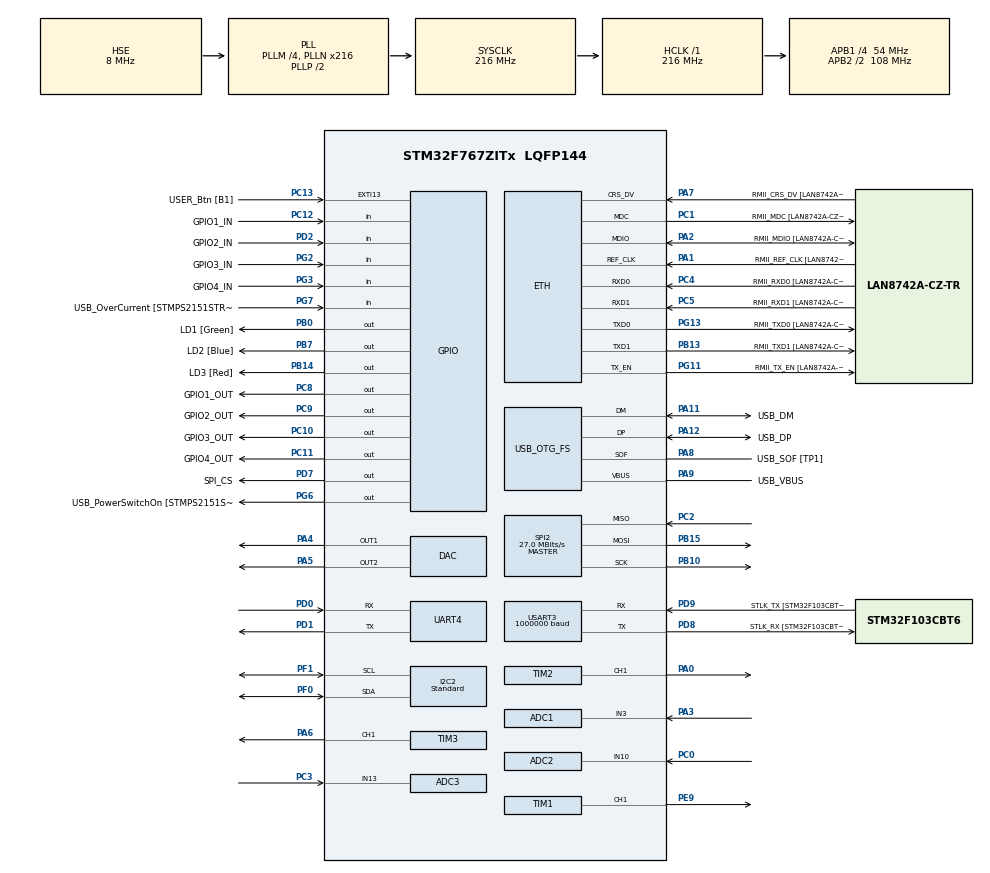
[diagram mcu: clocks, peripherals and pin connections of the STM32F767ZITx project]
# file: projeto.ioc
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ADC1.Channel-0\#ChannelRegularConversion=ADC_CHANNEL_3
ADC1.NbrOfConversionFlag=1
ADC1.Rank-0\#ChannelRegularConversion=1
ADC1.SamplingTime-0\#ChannelRegularConversion=ADC_SAMPLETIME_480CYCLES
ADC1.master=1
ADC2.Channel-0\#ChannelRegularConversion=ADC_CHANNEL_10
ADC2.NbrOfConversionFlag=1
ADC2.Rank-0\#ChannelRegularConversion=1
ADC2.SamplingTime-0\#ChannelRegularConversion=ADC_SAMPLETIME_480CYCLES
ADC3.Channel-0\#ChannelRegularConversion=ADC_CHANNEL_13
ADC3.NbrOfConversionFlag=1
ADC3.Rank-0\#ChannelRegularConversion=1
ADC3.SamplingTime-0\#ChannelRegularConversion=ADC_SAMPLETIME_480CYCLES
CORTEX_M7.default_mode_Activation=1
CRC.CRCLength=CRC_POLYLENGTH_16B
CRC.DefaultInitValueUse=DEFAULT_INIT_VALUE_DISABLE
CRC.DefaultPolynomialUse=DEFAULT_POLYNOMIAL_DISABLE
CRC.GeneratingPolynomial=X12+X5+X0
CRC.InitValue=0xffff
ETH.MediaInterface=HAL_ETH_RMII_MODE
ETH.PHY_Name=LAN8742A_PHY_ADDRESS
ETH.PHY_Value=0
ETH.PhyAddress=0
FREERTOS.Mutexes01=uartDebugMutex,Dynamic,NULL,Available
FREERTOS.Queues01=comandoQueue,1,commFrame_t,0,Static,comandoQueueBuffer,comandoQueueControlBlock;resultadoQueue,1,execResult_t,0,Static,resultadoQueueBuffer,resultadoQueueControlBlock
FREERTOS.Tasks01=defaultTask,24,256,StartDefaultTask,Default,NULL,Dynamic,NULL,NULL;Comm,24,256,CommTask,Default,NULL,Dynamic,NULL,NULL;TestExec,32,256,TestExecTask,Default,NULL,Dynamic,NULL,NULL
FREERTOS.configENABLE_FPU=1
FREERTOS.configUSE_NEWLIB_REENTRANT=1
I2C2.I2C_Speed_Mode=I2C_Standard
I2C2.Timing=0x20404768
Mcu.Family=STM32F7
Mcu.Name=STM32F767ZITx
Mcu.Package=LQFP144
NVIC.I2C2_ER_IRQn=true\:5\:0\:false\:false\:true\:true\:true\:true\:true
NVIC.I2C2_EV_IRQn=true\:5\:0\:false\:false\:true\:true\:true\:true\:true
NVIC.OTG_FS_IRQn=true\:5\:0\:false\:false\:true\:true\:false\:true\:true
NVIC.PriorityGroup=NVIC_PRIORITYGROUP_4
NVIC.SPI2_IRQn=true\:5\:0\:false\:false\:true\:true\:true\:true\:true
NVIC.TIM5_IRQn=true\:5\:0\:false\:false\:true\:true\:true\:true\:true
NVIC.TIM6_DAC_IRQn=true\:15\:0\:false\:false\:true\:false\:false\:true\:true
NVIC.TimeBase=TIM6_DAC_IRQn
NVIC.TimeBaseIP=TIM6
NVIC.UART4_IRQn=true\:5\:0\:false\:false\:true\:true\:true\:true\:true
PA0/WKUP.Signal=S_TIM2_CH1_ETR
PA1.GPIO_Label=RMII_REF_CLK [LAN8742A-CZ-TR_REFCLK0]
PA1.Mode=RMII
PA1.Signal=ETH_REF_CLK
PA10.GPIO_Label=USB_ID
PA10.Signal=USB_OTG_FS_ID
PA11.GPIO_Label=USB_DM
PA11.Mode=Device_Only
PA11.Signal=USB_OTG_FS_DM
PA12.GPIO_Label=USB_DP
PA12.Mode=Device_Only
PA12.Signal=USB_OTG_FS_DP
PA13.GPIO_Label=TMS
PA13.Mode=Serial_Wire
PA13.Signal=SYS_JTMS-SWDIO
PA14.GPIO_Label=TCK
PA14.Mode=Serial_Wire
PA14.Signal=SYS_JTCK-SWCLK
PA2.GPIO_Label=RMII_MDIO [LAN8742A-CZ-TR_MDIO]
PA2.Mode=RMII
PA2.Signal=ETH_MDIO
PA3.Signal=ADCx_IN3
PA4.Signal=COMP_DAC1_group
PA5.Signal=COMP_DAC2_group
PA6.Signal=S_TIM3_CH1
PA7.GPIO_Label=RMII_CRS_DV [LAN8742A-CZ-TR_CRS_DV]
PA7.Mode=RMII
PA7.Signal=ETH_CRS_DV
PA8.GPIO_Label=USB_SOF [TP1]
PA8.Mode=Activate_SOF_FS
PA8.Signal=USB_OTG_FS_SOF
PA9.GPIO_Label=USB_VBUS
PA9.Mode=Activate_VBUS
PA9.Signal=USB_OTG_FS_VBUS
PB0.GPIO_Label=LD1 [Green]
PB0.Signal=GPIO_Output
PB10.Mode=Full_Duplex_Master
PB10.Signal=SPI2_SCK
PB13.GPIO_Label=RMII_TXD1 [LAN8742A-CZ-TR_TXD1]
PB13.Mode=RMII
PB13.Signal=ETH_TXD1
PB14.GPIO_Label=LD3 [Red]
PB14.Signal=GPIO_Output
PB15.Mode=Full_Duplex_Master
PB15.Signal=SPI2_MOSI
PB3.GPIO_Label=SWO
PB3.Signal=SYS_JTDO-SWO
PB7.GPIO_Label=LD2 [Blue]
PB7.Signal=GPIO_Output
PC0.Signal=ADCx_IN10
PC1.GPIO_Label=RMII_MDC [LAN8742A-CZ-TR_MDC]
PC1.Mode=RMII
PC1.Signal=ETH_MDC
PC10.GPIO_Label=GPIO3_OUT
PC10.Signal=GPIO_Output
PC11.GPIO_Label=GPIO4_OUT
PC11.Signal=GPIO_Output
PC12.GPIO_Label=GPIO1_IN
PC12.GPIO_PuPd=GPIO_NOPULL
PC12.Signal=GPIO_Input
PC13.GPIO_Label=USER_Btn [B1]
PC13.Signal=GPXTI13
PC14/OSC32_IN.Mode=LSE-External-Oscillator
PC14/OSC32_IN.Signal=RCC_OSC32_IN
PC15/OSC32_OUT.Mode=LSE-External-Oscillator
PC15/OSC32_OUT.Signal=RCC_OSC32_OUT
PC2.Mode=Full_Duplex_Master
PC2.Signal=SPI2_MISO
PC3.Signal=ADCx_IN13
PC4.GPIO_Label=RMII_RXD0 [LAN8742A-CZ-TR_RXD0]
PC4.Mode=RMII
PC4.Signal=ETH_RXD0
PC5.GPIO_Label=RMII_RXD1 [LAN8742A-CZ-TR_RXD1]
PC5.Mode=RMII
PC5.Signal=ETH_RXD1
PC8.GPIO_Label=GPIO1_OUT
PC8.Signal=GPIO_Output
PC9.GPIO_Label=GPIO2_OUT
PC9.Signal=GPIO_Output
PD0.Mode=Asynchronous
PD0.Signal=UART4_RX
PD1.Mode=Asynchronous
PD1.Signal=UART4_TX
PD2.GPIO_Label=GPIO2_IN
PD2.Signal=GPIO_Input
PD7.GPIO_Label=SPI_CS
PD7.PinState=GPIO_PIN_SET
PD7.Signal=GPIO_Output
PD8.GPIO_Label=STLK_RX [STM32F103CBT6_PA3]
PD8.Mode=Asynchronous
PD8.Signal=USART3_TX
PD9.GPIO_Label=STLK_TX [STM32F103CBT6_PA2]
PD9.Mode=Asynchronous
PD9.Signal=USART3_RX
PE9.Signal=S_TIM1_CH1
PF0.Mode=I2C
PF0.Signal=I2C2_SDA
PF1.Mode=I2C
PF1.Signal=I2C2_SCL
PG11.GPIO_Label=RMII_TX_EN [LAN8742A-CZ-TR_TXEN]
PG11.Mode=RMII
PG11.Signal=ETH_TX_EN
PG13.GPIO_Label=RMII_TXD0 [LAN8742A-CZ-TR_TXD0]
PG13.Mode=RMII
PG13.Signal=ETH_TXD0
PG2.GPIO_Label=GPIO3_IN
PG2.Signal=GPIO_Input
PG3.GPIO_Label=GPIO4_IN
PG3.Signal=GPIO_Input
PG6.GPIO_Label=USB_PowerSwitchOn [STMPS2151STR_EN]
PG6.Signal=GPIO_Output
PG7.GPIO_Label=USB_OverCurrent [STMPS2151STR_FAULT]
PG7.Signal=GPIO_Input
PH0/OSC_IN.GPIO_Label=MCO [STM32F103CBT6_PA8]
PH0/OSC_IN.Mode=HSE-External-Clock-Source
PH0/OSC_IN.Signal=RCC_OSC_IN
PH1/OSC_OUT.Mode=HSE-External-Clock-Source
PH1/OSC_OUT.Signal=RCC_OSC_OUT
ProjectManager.HeapSize=0x200
ProjectManager.StackSize=0x400
ProjectManager.TargetToolchain=STM32CubeIDE
RCC.48MHZClocksFreq_Value=24000000
RCC.AHBFreq_Value=216000000
RCC.APB1CLKDivider=RCC_HCLK_DIV4
RCC.APB1Freq_Value=54000000
RCC.APB1TimFreq_Value=108000000
RCC.APB2CLKDivider=RCC_HCLK_DIV2
RCC.APB2Freq_Value=108000000
RCC.APB2TimFreq_Value=216000000
RCC.CortexFreq_Value=216000000
RCC.HCLKFreq_Value=216000000
RCC.HSE_VALUE=8000000
RCC.HSI_VALUE=16000000
RCC.PLLM=4
RCC.PLLMUL=RCC_PLL_MUL9
RCC.PLLN=216
RCC.PLLQ=9
RCC.PRESCALERUSB=RCC_USBCLKSOURCE_PLL_DIV1_5
RCC.SYSCLKFreq_VALUE=216000000
RCC.SYSCLKSource=RCC_SYSCLKSOURCE_PLLCLK
RCC.SYSCLKSourceVirtual=RCC_SYSCLKSOURCE_PLLCLK
RCC.USBFreq_Value=48000000
RCC.VCOOutputFreq_Value=432000000
SH.ADCx_IN10.0=ADC2_IN10,IN10
SH.ADCx_IN13.0=ADC3_IN13,IN13
SH.ADCx_IN3.0=ADC1_IN3,IN3
SH.COMP_DAC1_group.0=DAC_OUT1,DAC_OUT1
SH.COMP_DAC2_group.0=DAC_OUT2,DAC_OUT2
SH.S_TIM1_CH1.0=TIM1_CH1,PWM Generation1 CH1
SH.S_TIM2_CH1_ETR.0=TIM2_CH1,PWM Generation1 CH1
SH.S_TIM3_CH1.0=TIM3_CH1,PWM Generation1 CH1
SPI2.CalculateBaudRate=27.0 MBits/s
SPI2.DataSize=SPI_DATASIZE_8BIT
SPI2.Direction=SPI_DIRECTION_2LINES
SPI2.Mode=SPI_MODE_MASTER
SPI2.VirtualType=VM_MASTER
TIM1.AutoReloadPreload=TIM_AUTORELOAD_PRELOAD_ENABLE
TIM1.Channel-PWM\ Generation1\ CH1=TIM_CHANNEL_1
TIM2.AutoReloadPreload=TIM_AUTORELOAD_PRELOAD_ENABLE
TIM2.Channel-PWM\ Generation1\ CH1=TIM_CHANNEL_1
TIM3.AutoReloadPreload=TIM_AUTORELOAD_PRELOAD_ENABLE
TIM3.Channel-PWM\ Generation1\ CH1=TIM_CHANNEL_1
TIM5.Period=4294967295
TIM5.Prescaler=107
USART3.BaudRate=1000000
USART3.VirtualMode-Asynchronous=VM_ASYNC
USB_DEVICE.CLASS_NAME_FS=CDC
USB_DEVICE.MANUFACTURER_STRING-CDC_FS=Assert
USB_DEVICE.PRODUCT_STRING_CDC_FS=STM32 JIGA de Testes
USB_DEVICE.VirtualMode-CDC_FS=Cdc
USB_DEVICE.VirtualModeFS=Cdc_FS
USB_OTG_FS.VirtualMode=Device_Only
VP_CRC_VS_CRC.Mode=CRC_Activate
VP_FREERTOS_VS_CMSIS_V2.Mode=CMSIS_V2
VP_SYS_VS_tim6.Mode=TIM6
VP_TIM5_VS_ClockSourceINT.Mode=Internal
VP_USB_DEVICE_VS_USB_DEVICE_CDC_FS.Mode=CDC_FS
board=NUCLEO-F767ZI

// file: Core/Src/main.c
/* USER CODE BEGIN Header */
/**
  ******************************************************************************
  * @file           : main.c
  * @brief          : Main program body
  ******************************************************************************
  * @attention
  *
  * Copyright (c) 2026 STMicroelectronics.
  * All rights reserved.
  *
  * This software is licensed under terms that can be found in the LICENSE file
  * in the root directory of this software component.
  * If no LICENSE file comes with this software, it is provided AS-IS.
  *
  ******************************************************************************
  */
/* USER CODE END Header */
#include "main.h"
#include "cmsis_os.h"
#include "adc.h"
#include "crc.h"
#include "dac.h"
#include "eth.h"
#include "i2c.h"
#include "spi.h"
#include "tim.h"
#include "usart.h"
#include "usb_device.h"
#include "gpio.h"

/* USER CODE BEGIN Includes */

#include "Bsp.h"
#include "DebugLog.h"
#include "Version.h"

/* USER CODE END Includes */

void SystemClock_Config(void);
static void MPU_Config(void);
void MX_FREERTOS_Init(void);

int main(void)
{

  /* MPU Configuration--------------------------------------------------------*/
  MPU_Config();

  /* MCU Configuration--------------------------------------------------------*/

  /* Reset of all peripherals, Initializes the Flash interface and the Systick. */
  HAL_Init();

  /* Configure the system clock */
  SystemClock_Config();

  /* Initialize all configured peripherals */
  MX_GPIO_Init();
  MX_ETH_Init();
  MX_USART3_UART_Init();
  MX_ADC1_Init();
  MX_ADC2_Init();
  MX_ADC3_Init();
  MX_DAC_Init();
  MX_I2C2_Init();
  MX_SPI2_Init();
  MX_TIM1_Init();
  MX_TIM2_Init();
  MX_TIM3_Init();
  MX_UART4_Init();
  MX_CRC_Init();
  MX_TIM5_Init();
  /* USER CODE BEGIN 2 */

  Bsp_Init();

  HAL_Delay(1000);
  DebugLog_SendTerminal("\n\n\n[SYSTEM] Iniciando o sistema - firmware v%s\n\n\n", dFW_VERSION_STRING);

  /* USER CODE END 2 */

  /* Init scheduler */
  osKernelInitialize();  /* Call init function for freertos objects (in cmsis_os2.c) */
  MX_FREERTOS_Init();

  /* Start scheduler */
  osKernelStart();

  /* We should never get here as control is now taken by the scheduler */

  /* Infinite loop */
  while (1)
  {

  }
}

void SystemClock_Config(void)
{
  RCC_OscInitTypeDef RCC_OscInitStruct = {0};
  RCC_ClkInitTypeDef RCC_ClkInitStruct = {0};

  /** Configure LSE Drive Capability
  */
  HAL_PWR_EnableBkUpAccess();

  /** Configure the main internal regulator output voltage
  */
  __HAL_RCC_PWR_CLK_ENABLE();
  __HAL_PWR_VOLTAGESCALING_CONFIG(PWR_REGULATOR_VOLTAGE_SCALE1);

  /** Initializes the RCC Oscillators according to the specified parameters
  * in the RCC_OscInitTypeDef structure.
  */
  RCC_OscInitStruct.OscillatorType = RCC_OSCILLATORTYPE_HSE;
  RCC_OscInitStruct.HSEState = RCC_HSE_BYPASS;
  RCC_OscInitStruct.PLL.PLLState = RCC_PLL_ON;
  RCC_OscInitStruct.PLL.PLLSource = RCC_PLLSOURCE_HSE;
  RCC_OscInitStruct.PLL.PLLM = 4;
  RCC_OscInitStruct.PLL.PLLN = 216;
  RCC_OscInitStruct.PLL.PLLP = RCC_PLLP_DIV2;
  RCC_OscInitStruct.PLL.PLLQ = 9;
  RCC_OscInitStruct.PLL.PLLR = 2;
  if (HAL_RCC_OscConfig(&RCC_OscInitStruct) != HAL_OK)
  {
    Error_Handler();
  }

  /** Activate the Over-Drive mode
  */
  if (HAL_PWREx_EnableOverDrive() != HAL_OK)
  {
    Error_Handler();
  }

  /** Initializes the CPU, AHB and APB buses clocks
  */
  RCC_ClkInitStruct.ClockType = RCC_CLOCKTYPE_HCLK|RCC_CLOCKTYPE_SYSCLK
                              |RCC_CLOCKTYPE_PCLK1|RCC_CLOCKTYPE_PCLK2;
  RCC_ClkInitStruct.SYSCLKSource = RCC_SYSCLKSOURCE_PLLCLK;
  RCC_ClkInitStruct.AHBCLKDivider = RCC_SYSCLK_DIV1;
  RCC_ClkInitStruct.APB1CLKDivider = RCC_HCLK_DIV4;
  RCC_ClkInitStruct.APB2CLKDivider = RCC_HCLK_DIV2;

  if (HAL_RCC_ClockConfig(&RCC_ClkInitStruct, FLASH_LATENCY_7) != HAL_OK)
  {
    Error_Handler();
  }
}

 /* MPU Configuration */

void MPU_Config(void)
{
  MPU_Region_InitTypeDef MPU_InitStruct = {0};

  /* Disables the MPU */
  HAL_MPU_Disable();

  /** Initializes and configures the Region and the memory to be protected
  */
  MPU_InitStruct.Enable = MPU_REGION_ENABLE;
  MPU_InitStruct.Number = MPU_REGION_NUMBER0;
  MPU_InitStruct.BaseAddress = 0x0;
  MPU_InitStruct.Size = MPU_REGION_SIZE_4GB;
  MPU_InitStruct.SubRegionDisable = 0x87;
  MPU_InitStruct.TypeExtField = MPU_TEX_LEVEL0;
  MPU_InitStruct.AccessPermission = MPU_REGION_NO_ACCESS;
  MPU_InitStruct.DisableExec = MPU_INSTRUCTION_ACCESS_DISABLE;
  MPU_InitStruct.IsShareable = MPU_ACCESS_SHAREABLE;
  MPU_InitStruct.IsCacheable = MPU_ACCESS_NOT_CACHEABLE;
  MPU_InitStruct.IsBufferable = MPU_ACCESS_NOT_BUFFERABLE;

  HAL_MPU_ConfigRegion(&MPU_InitStruct);
  /* Enables the MPU */
  HAL_MPU_Enable(MPU_PRIVILEGED_DEFAULT);

}

void HAL_TIM_PeriodElapsedCallback(TIM_HandleTypeDef *htim)
{
  if (htim->Instance == TIM6)
  {
    HAL_IncTick();
  }
}

void Error_Handler(void)
{
  __disable_irq();
  while (1)
  {
  }
}

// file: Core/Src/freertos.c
/* USER CODE BEGIN Header */
/**
  ******************************************************************************
  * File Name          : freertos.c
  * Description        : Code for freertos applications
  ******************************************************************************
  * @attention
  *
  * Copyright (c) 2026 STMicroelectronics.
  * All rights reserved.
  *
  * This software is licensed under terms that can be found in the LICENSE file
  * in the root directory of this software component.
  * If no LICENSE file comes with this software, it is provided AS-IS.
  *
  ******************************************************************************
  */
/* USER CODE END Header */

#include "FreeRTOS.h"
#include "task.h"
#include "main.h"
#include "cmsis_os.h"

/* USER CODE BEGIN Includes */
#include "DebugLog.h"
#include "crc.h"
#include "Crc16.h"
#include "Comm.h"
#include "Usb.h"
#include "Exec.h"
#include "Rotina.h"

#ifdef UNIT_TEST_ON_TARGET
#include "TestRunner.h"
#endif

/* USER CODE END Includes */

typedef StaticQueue_t osStaticMessageQDef_t;

/* USER CODE BEGIN PD */

#define dCOMM_RX_TIMEOUT_MS (20U)

/// Tempo maximo esperando a USB terminar o envio anterior antes de desistir da resposta
#define dCOMM_TX_TIMEOUT_MS (50U)

/* USER CODE END PD */

/* USER CODE BEGIN Variables */

uint32_t I2CEmulationTaskBuffer[ 256 ];
StaticTask_t I2CEmulationTaskControlBlock;

const osThreadAttr_t I2CEmulationTask_attributes = {
  .name = "I2CEmulationTask",
  .cb_mem = &I2CEmulationTaskControlBlock,
  .cb_size = sizeof(I2CEmulationTaskControlBlock),
  .stack_mem = &I2CEmulationTaskBuffer[0],
  .stack_size = sizeof(I2CEmulationTaskBuffer),
  .priority = (osPriority_t) osPriorityHigh,
};

uint32_t SPIEmulationTaskBuffer[ 256 ];
StaticTask_t SPIEmulationTaskControlBlock;

const osThreadAttr_t SPIEmulationTask_attributes = {
  .name = "SPIEmulationTask",
  .cb_mem = &SPIEmulationTaskControlBlock,
  .cb_size = sizeof(SPIEmulationTaskControlBlock),
  .stack_mem = &SPIEmulationTaskBuffer[0],
  .stack_size = sizeof(SPIEmulationTaskBuffer),
  .priority = (osPriority_t) osPriorityHigh,
};

uint32_t UARTEmulationTaskBuffer[ 256 ];
StaticTask_t UARTEmulationTaskControlBlock;

const osThreadAttr_t UARTEmulationTask_attributes = {
  .name = "UARTEmulationTask",
  .cb_mem = &UARTEmulationTaskControlBlock,
  .cb_size = sizeof(UARTEmulationTaskControlBlock),
  .stack_mem = &UARTEmulationTaskBuffer[0],
  .stack_size = sizeof(UARTEmulationTaskBuffer),
  .priority = (osPriority_t) osPriorityHigh,
};

//taskNameTesteHandle = osThreadNew(entryFunctionTeste, NULL, &taskNameTeste_attributes);

#ifndef UNIT_TEST_ON_TARGET
/// Buffer de envio da CommTask (respostas imediatas e respostas de resultado). O CDC_Transmit_FS copia os
/// dados, entao pode ser reutilizado assim que o Usb_Write retornar OK. static: fora da stack de 1 KB
static uint8_t commTxBuffer[dCOMM_FRAME_MAX_SIZE];
#endif

/* USER CODE END Variables */
/* Definitions for defaultTask */
osThreadId_t defaultTaskHandle;
const osThreadAttr_t defaultTask_attributes = {
  .name = "defaultTask",
  .stack_size = 256 * 4,
  .priority = (osPriority_t) osPriorityNormal,
};
/* Definitions for Comm */
osThreadId_t CommHandle;
const osThreadAttr_t Comm_attributes = {
  .name = "Comm",
  .stack_size = 256 * 4,
  .priority = (osPriority_t) osPriorityNormal,
};
/* Definitions for TestExec */
osThreadId_t TestExecHandle;
const osThreadAttr_t TestExec_attributes = {
  .name = "TestExec",
  .stack_size = 256 * 4,
  .priority = (osPriority_t) osPriorityAboveNormal,
};
/* Definitions for comandoQueue */
osMessageQueueId_t comandoQueueHandle;
uint8_t comandoQueueBuffer[ 1 * sizeof( commFrame_t ) ];
osStaticMessageQDef_t comandoQueueControlBlock;
const osMessageQueueAttr_t comandoQueue_attributes = {
  .name = "comandoQueue",
  .cb_mem = &comandoQueueControlBlock,
  .cb_size = sizeof(comandoQueueControlBlock),
  .mq_mem = &comandoQueueBuffer,
  .mq_size = sizeof(comandoQueueBuffer)
};
/* Definitions for resultadoQueue */
osMessageQueueId_t resultadoQueueHandle;
uint8_t resultadoQueueBuffer[ 1 * sizeof( execResult_t ) ];
osStaticMessageQDef_t resultadoQueueControlBlock;
const osMessageQueueAttr_t resultadoQueue_attributes = {
  .name = "resultadoQueue",
  .cb_mem = &resultadoQueueControlBlock,
  .cb_size = sizeof(resultadoQueueControlBlock),
  .mq_mem = &resultadoQueueBuffer,
  .mq_size = sizeof(resultadoQueueBuffer)
};
/* Definitions for uartDebugMutex */
osMutexId_t uartDebugMutexHandle;
const osMutexAttr_t uartDebugMutex_attributes = {
  .name = "uartDebugMutex"
};

/* USER CODE BEGIN FunctionPrototypes */

#ifndef UNIT_TEST_ON_TARGET
static void CommTask_Responde(const commFrame_t *frame);
static void CommTask_RespondeRotina(const commFrame_t *frame);
static void CommTask_VerificaResultado(void);
static void CommTask_Envia(uint16_t tamanho, const char *tipo);
#endif

/* USER CODE END FunctionPrototypes */

void StartDefaultTask(void *argument);
void CommTask(void *argument);
void TestExecTask(void *argument);

extern void MX_USB_DEVICE_Init(void);
void MX_FREERTOS_Init(void); /* (MISRA C 2004 rule 8.1) */

void MX_FREERTOS_Init(void) {
  /* Create the mutex(es) */
  /* creation of uartDebugMutex */
  uartDebugMutexHandle = osMutexNew(&uartDebugMutex_attributes);

  /* Create the queue(s) */
  /* creation of comandoQueue */
  comandoQueueHandle = osMessageQueueNew (1, sizeof(commFrame_t), &comandoQueue_attributes);

  /* creation of resultadoQueue */
  resultadoQueueHandle = osMessageQueueNew (1, sizeof(execResult_t), &resultadoQueue_attributes);

  /* Create the thread(s) */
  /* creation of defaultTask */
  defaultTaskHandle = osThreadNew(StartDefaultTask, NULL, &defaultTask_attributes);

  /* creation of Comm */
  CommHandle = osThreadNew(CommTask, NULL, &Comm_attributes);

  /* creation of TestExec */
  TestExecHandle = osThreadNew(TestExecTask, NULL, &TestExec_attributes);

  /* USER CODE BEGIN RTOS_THREADS */
  /* add threads, ... */
#ifdef UNIT_TEST_ON_TARGET
  TestRunner_Start();
#endif

  /* USER CODE END RTOS_THREADS */

}

void StartDefaultTask(void *argument)
{
  /* init code for USB_DEVICE */
  MX_USB_DEVICE_Init();
  /* USER CODE BEGIN StartDefaultTask */
  /* Infinite loop */
  for(;;)
  {
	  HAL_GPIO_TogglePin(LD1_GPIO_Port, LD1_Pin);
	  osDelay(250);
  }
  /* USER CODE END StartDefaultTask */
}

void CommTask(void *argument)
{
  /* USER CODE BEGIN CommTask */
  /* Infinite loop */
	DebugLog_SendTerminal("[TASK -> COMM] Inicio da Task\n");
	commReturn_t retComm = Comm_Init();
	DebugLog_SendTerminal("[TASK -> COMM] Comm = %d\n", retComm);

	// Durante uma rotina so PING, ROUTINE_STATUS, ABORT e retransmissoes sao atendidos
	Comm_SetBusyCheck(Rotina_EmExecucao);

#ifdef UNIT_TEST_ON_TARGET
	// Na build Test o parser e exercitado pelo TestRunner: a CommTask nao pode mexer no estado dele
	for(;;)
	{
		osDelay(1000);
	}
#else
	// static: fora da stack de 1 KB da task, que ainda precisa caber o vsnprintf do DebugLog
	static uint8_t rxBuffer[64];
	static commFrame_t frame;
	uint32_t rxSize = 0;
	usbReturn_t retUsb;

  for(;;)
  {
	  retUsb = Usb_Read(rxBuffer, sizeof(rxBuffer), &rxSize, dCOMM_RX_TIMEOUT_MS);

	  // Um programa abriu a porta no PC: ele recomeca a contagem de SEQ, entao a resposta guardada da sessao
	  // anterior nao vale mais. Consultado antes de processar os bytes lidos, que ja sao da sessao nova
	  // (o PC liga o DTR ao abrir a porta, antes de enviar qualquer dado)
	  if (Usb_NewSession() != 0U)
	  {
		  Comm_Init();
		  DebugLog_SendTerminal("[TASK -> COMM] Sessao nova (porta aberta no PC): cache de SEQ limpo\n");
	  }

	  if (retUsb == eUSB_RETURN_OK)
	  {
		  // Um bloco do USB pode ter pedaco de quadro ou varios quadros: o parser consome byte a byte
		  for (uint32_t i = 0; i < rxSize; i++)
		  {
			  // O quadro e tratado assim que fica pronto, antes que o proximo sobrescreva o frame
			  switch (Comm_ProcessByte(rxBuffer[i], &frame))
			  {
				  case eCOMM_RETURN_FRAME_OK:

					  DebugLog_SendTerminal("[TASK -> COMM] Quadro OK: LEN=%u SEQ=%u CMD=0x%02X\n", frame.size, frame.seq, frame.cmd);
					  CommTask_Responde(&frame);

				  break;

				  case eCOMM_RETURN_CRC_ERROR:

					  DebugLog_SendTerminal("[TASK -> COMM] Erro de CRC: quadro descartado\n");

				  break;

				  case eCOMM_RETURN_LEN_ERROR:

					  DebugLog_SendTerminal("[TASK -> COMM] LEN maior que %u: quadro descartado\n", dCOMM_PAYLOAD_MAX_SIZE);

				  break;

				  default:
				  break;
			  }
		  }
	  }
	  else if (retUsb == eUSB_RETURN_EMPTY)
	  {
		  // Timeout de pacote: dCOMM_RX_TIMEOUT_MS sem bytes descarta um quadro pela metade
		  if (Comm_Timeout() == eCOMM_RETURN_TIMEOUT)
		  {
			  DebugLog_SendTerminal("[TASK -> COMM] Timeout: quadro incompleto descartado\n");
		  }
	  }

	  // A cada volta (no maximo dCOMM_RX_TIMEOUT_MS): a TestExecTask terminou algum comando?
	  CommTask_VerificaResultado();
  }
#endif
  /* USER CODE END CommTask */
}

void TestExecTask(void *argument)
{
  /* USER CODE BEGIN TestExecTask */
	static commFrame_t comando;
	static execResult_t resultado;

	DebugLog_SendTerminal("[TASK -> EXEC] Inicio da Task\n");

  /* Infinite loop */
  for(;;)  {

	  if (osMessageQueueGet(comandoQueueHandle, &comando, NULL, osWaitForever) != osOK)
	  {
		  continue;
	  }

	  Exec_Process(&comando, &resultado);

	  DebugLog_SendTerminal("[TASK -> EXEC] Executado: CMD=0x%02X SEQ=%u erro=%u\n", resultado.cmd, resultado.seq, resultado.erro);

	  osMessageQueuePut(resultadoQueueHandle, &resultado, 0U, osWaitForever);

	  // RUN_ROUTINE aceito: o ACK ja foi para a fila; a rotina roda aqui ate o fim (a CommTask continua atendendo
	  // PING, ROUTINE_STATUS e ABORT e responde OCUPADO aos demais)
	  if ((resultado.cmd == dCOMM_CMD_RUN_ROUTINE) && (resultado.erro == 0U))
	  {
		  Rotina_Executa();

		  uint8_t status[dROTINA_STATUS_SIZE];
		  uint8_t size = 0U;
		  (void)Rotina_Status(status, &size);
		  DebugLog_SendTerminal("[TASK -> EXEC] Rotina %u finalizada: estado=%u passos=%u erro=%u\n",
		                        (unsigned)(status[2] | (status[3] << 8)), status[0], status[1], status[4]);
	  }
  }
  /* USER CODE END TestExecTask */
}

/* USER CODE BEGIN Application */

#ifndef UNIT_TEST_ON_TARGET
/***********************************************************************************************************************
 * @brief      Decide a resposta de um quadro valido (Comm_ProcessFrame) e envia, ou repassa para a TestExecTask.
 * @details    Quadro com CRC errado ou LEN invalido nao chega aqui: nao tem resposta, o PC retransmite por timeout.
 *             Comando repassado (FORWARD) vai pela comandoQueue; a resposta dele sai no CommTask_VerificaResultado.
 * @param[in]  frame  Quadro recebido e validado pelo Comm_ProcessByte
 **********************************************************************************************************************/
static void CommTask_Responde(const commFrame_t *frame)
{
	uint16_t txSize = 0;
	commReturn_t ret = Comm_ProcessFrame(frame, commTxBuffer, sizeof(commTxBuffer), &txSize);

	switch (ret)
	{
		case eCOMM_RETURN_OK:
		case eCOMM_RETURN_RESENT:

			CommTask_Envia(txSize, (ret == eCOMM_RETURN_RESENT) ? "reenviada" : "enviada");

		break;

		case eCOMM_RETURN_IGNORED:

			DebugLog_SendTerminal("[TASK -> COMM] Retransmissao do comando pendente: ignorada\n");

		break;

		case eCOMM_RETURN_DIRECT:

			CommTask_RespondeRotina(frame);

		break;

		case eCOMM_RETURN_FORWARD:

			if (osMessageQueuePut(comandoQueueHandle, frame, 0U, 0U) != osOK)
			{
				if (Comm_BuildResult(frame->seq, frame->cmd, (uint8_t)eCOMM_ERROR_OCUPADO, NULL, 0U,
				                     commTxBuffer, sizeof(commTxBuffer), &txSize) == eCOMM_RETURN_OK)
				{
					CommTask_Envia(txSize, "enviada");
				}
			}

		break;

		default:

			DebugLog_SendTerminal("[TASK -> COMM] Erro ao montar a resposta (%d)\n", ret);

		break;
	}
}

/***********************************************************************************************************************
 * @brief      ROUTINE_STATUS e ABORT: atendidos aqui, sem passar pela TestExecTask (que pode estar executando a rotina).
 * @details    Os dois sao sem payload; com payload, NACK PARAMETRO_INVALIDO. O ABORT recebe ACK mesmo sem rotina.
 * @param[in]  frame  Quadro recebido (Comm_ProcessFrame devolveu DIRECT)
 **********************************************************************************************************************/
static void CommTask_RespondeRotina(const commFrame_t *frame)
{
	uint8_t dados[dROTINA_STATUS_SIZE];
	uint8_t size = 0U;
	uint8_t erro = 0U;
	uint16_t txSize = 0;

	if (frame->size != 0U)
	{
		erro = (uint8_t)eCOMM_ERROR_PARAMETRO_INVALIDO;
	}
	else if (frame->cmd == dCOMM_CMD_ROUTINE_STATUS)
	{
		(void)Rotina_Status(dados, &size);
	}
	else
	{
		(void)Rotina_Aborta();
		DebugLog_SendTerminal("[TASK -> COMM] ABORT recebido\n");
	}

	if (Comm_BuildDirect(frame->seq, frame->cmd, erro, dados, size, commTxBuffer, sizeof(commTxBuffer),
	                     &txSize) == eCOMM_RETURN_OK)
	{
		CommTask_Envia(txSize, "enviada");
	}
}

/***********************************************************************************************************************
 * @brief      Confere, sem bloquear, se a TestExecTask devolveu um resultado; se sim, monta o ACK/NACK e envia.
 * @details    Sem bloquear porque a CommTask precisa continuar lendo o USB. Resultado de um comando que nao esta
 *             mais pendente (ex.: o PC reabriu a porta enquanto ele executava) e descartado.
 **********************************************************************************************************************/
static void CommTask_VerificaResultado(void)
{
	static execResult_t resultado;
	uint16_t txSize = 0;

	if (osMessageQueueGet(resultadoQueueHandle, &resultado, NULL, 0U) != osOK)
	{
		return;
	}

	if (Comm_BuildResult(resultado.seq, resultado.cmd, resultado.erro, resultado.dados, resultado.size,
	                     commTxBuffer, sizeof(commTxBuffer), &txSize) != eCOMM_RETURN_OK)
	{
		DebugLog_SendTerminal("[TASK -> COMM] Resultado descartado: SEQ=%u nao esta pendente\n", resultado.seq);
		return;
	}

	CommTask_Envia(txSize, "enviada");
}

/***********************************************************************************************************************
 * @brief      Envia a resposta que esta no commTxBuffer pelo USB-CDC.
 * @details    Se a USB ainda esta enviando a anterior, tenta de novo por ate dCOMM_TX_TIMEOUT_MS, para a task nao
 *             travar se o PC parar de ler a porta.
 * @param[in]  tamanho  Bytes da resposta no commTxBuffer
 * @param[in]  tipo     "enviada" ou "reenviada" (so para o log)
 **********************************************************************************************************************/
static void CommTask_Envia(uint16_t tamanho, const char *tipo)
{
	uint32_t espera = 0;
	usbReturn_t retUsb;

	while ((retUsb = Usb_Write(commTxBuffer, tamanho)) == eUSB_RETURN_BUSY)
	{
		if (espera >= dCOMM_TX_TIMEOUT_MS)
		{
			break;
		}
		osDelay(1);
		espera++;
	}

	if (retUsb != eUSB_RETURN_OK)
	{
		DebugLog_SendTerminal("[TASK -> COMM] Resposta nao enviada (%d)\n", retUsb);
		return;
	}

	DebugLog_SendTerminal("[TASK -> COMM] Resposta %s: LEN=%u SEQ=%u CMD=0x%02X\n",
	                      tipo, commTxBuffer[1], commTxBuffer[2], commTxBuffer[3]);
}
#endif

/* USER CODE END Application */
